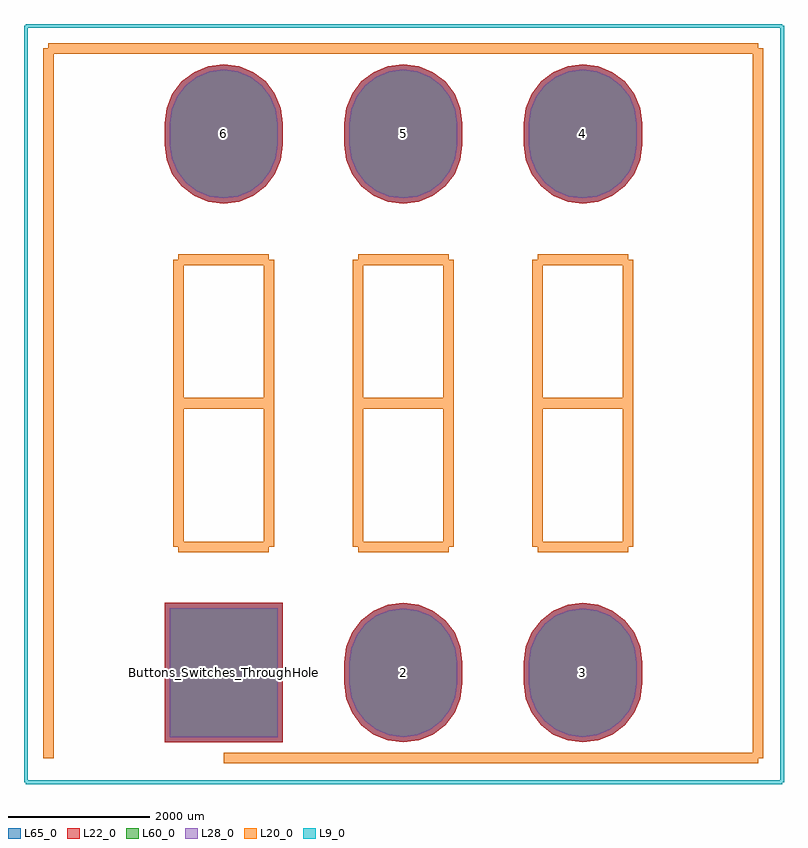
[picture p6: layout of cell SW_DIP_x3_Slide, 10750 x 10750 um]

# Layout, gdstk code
import gdstk
lib = gdstk.Library(unit=1e-6, precision=1e-09)
def R(c, l, rs):  # rectangles x0, y0, x1, y1
    for r in rs: c.add(gdstk.rectangle(r[:2], r[2:], *l))
def P(c, l, *ps):  # polygons
    for p in ps: c.add(gdstk.Polygon(p, *l))
L9_0 = (9, 0)
L20_0 = (20, 0)
L22_0 = (22, 0)
L28_0 = (28, 0)
L60_0 = (60, 0)
L65_0 = (65, 0)

sw_dip_x3_slide = lib.new_cell('SW_DIP_x3_Slide')
R(sw_dip_x3_slide, L22_0, [(-837,-987,837,987)])
P(sw_dip_x3_slide, L22_0, [(5080,6633),(5296.632,6661.52),(5498.5,6745.137),(5671.848,6878.152),(5804.863,7051.5),(5888.48,7253.368),(5917,7470),(5917,7770),(5888.48,7986.632),(5804.863,8188.5),(5671.848,8361.848),(5498.5,8494.863),(5296.632,8578.48),(5080,8607),(4863.368,8578.48),(4661.5,8494.863),(4488.152,8361.848),(4355.137,8188.5),(4271.52,7986.632),(4243,7770),(4243,7470),(4271.52,7253.368),(4355.137,7051.5),(4488.152,6878.152),(4661.5,6745.137),(4863.368,6661.52)],
  [(5080,-987),(5296.632,-958.48),(5498.5,-874.863),(5671.848,-741.848),(5804.863,-568.5),(5888.48,-366.632),(5917,-150),(5917,150),(5888.48,366.632),(5804.863,568.5),(5671.848,741.848),(5498.5,874.863),(5296.632,958.48),(5080,987),(4863.368,958.48),(4661.5,874.863),(4488.152,741.848),(4355.137,568.5),(4271.52,366.632),(4243,150),(4243,-150),(4271.52,-366.632),(4355.137,-568.5),(4488.152,-741.848),(4661.5,-874.863),(4863.368,-958.48)],
  [(2540,6633),(2756.632,6661.52),(2958.5,6745.137),(3131.848,6878.152),(3264.863,7051.5),(3348.48,7253.368),(3377,7470),(3377,7770),(3348.48,7986.632),(3264.863,8188.5),(3131.848,8361.848),(2958.5,8494.863),(2756.632,8578.48),(2540,8607),(2323.368,8578.48),(2121.5,8494.863),(1948.152,8361.848),(1815.137,8188.5),(1731.52,7986.632),(1703,7770),(1703,7470),(1731.52,7253.368),(1815.137,7051.5),(1948.152,6878.152),(2121.5,6745.137),(2323.368,6661.52)],
  [(2540,-987),(2756.632,-958.48),(2958.5,-874.863),(3131.848,-741.848),(3264.863,-568.5),(3348.48,-366.632),(3377,-150),(3377,150),(3348.48,366.632),(3264.863,568.5),(3131.848,741.848),(2958.5,874.863),(2756.632,958.48),(2540,987),(2323.368,958.48),(2121.5,874.863),(1948.152,741.848),(1815.137,568.5),(1731.52,366.632),(1703,150),(1703,-150),(1731.52,-366.632),(1815.137,-568.5),(1948.152,-741.848),(2121.5,-874.863),(2323.368,-958.48)],
  [(0,6633),(216.632,6661.52),(418.5,6745.137),(591.848,6878.152),(724.863,7051.5),(808.48,7253.368),(837,7470),(837,7770),(808.48,7986.632),(724.863,8188.5),(591.848,8361.848),(418.5,8494.863),(216.632,8578.48),(0,8607),(-216.632,8578.48),(-418.5,8494.863),(-591.848,8361.848),(-724.863,8188.5),(-808.48,7986.632),(-837,7770),(-837,7470),(-808.48,7253.368),(-724.863,7051.5),(-591.848,6878.152),(-418.5,6745.137),(-216.632,6661.52)])
R(sw_dip_x3_slide, L28_0, [(-762,-912,762,912)])
P(sw_dip_x3_slide, L28_0, [(5080,6708),(5277.22,6733.965),(5461,6810.089),(5618.815,6931.185),(5739.911,7089),(5816.035,7272.78),(5842,7470),(5842,7770),(5816.035,7967.22),(5739.911,8151),(5618.815,8308.815),(5461,8429.911),(5277.22,8506.035),(5080,8532),(4882.78,8506.035),(4699,8429.911),(4541.185,8308.815),(4420.089,8151),(4343.965,7967.22),(4318,7770),(4318,7470),(4343.965,7272.78),(4420.089,7089),(4541.185,6931.185),(4699,6810.089),(4882.78,6733.965)],
  [(5080,-912),(5277.22,-886.035),(5461,-809.911),(5618.815,-688.815),(5739.911,-531),(5816.035,-347.22),(5842,-150),(5842,150),(5816.035,347.22),(5739.911,531),(5618.815,688.815),(5461,809.911),(5277.22,886.035),(5080,912),(4882.78,886.035),(4699,809.911),(4541.185,688.815),(4420.089,531),(4343.965,347.22),(4318,150),(4318,-150),(4343.965,-347.22),(4420.089,-531),(4541.185,-688.815),(4699,-809.911),(4882.78,-886.035)],
  [(2540,6708),(2737.22,6733.965),(2921,6810.089),(3078.815,6931.185),(3199.911,7089),(3276.035,7272.78),(3302,7470),(3302,7770),(3276.035,7967.22),(3199.911,8151),(3078.815,8308.815),(2921,8429.911),(2737.22,8506.035),(2540,8532),(2342.78,8506.035),(2159,8429.911),(2001.185,8308.815),(1880.089,8151),(1803.965,7967.22),(1778,7770),(1778,7470),(1803.965,7272.78),(1880.089,7089),(2001.185,6931.185),(2159,6810.089),(2342.78,6733.965)],
  [(2540,-912),(2737.22,-886.035),(2921,-809.911),(3078.815,-688.815),(3199.911,-531),(3276.035,-347.22),(3302,-150),(3302,150),(3276.035,347.22),(3199.911,531),(3078.815,688.815),(2921,809.911),(2737.22,886.035),(2540,912),(2342.78,886.035),(2159,809.911),(2001.185,688.815),(1880.089,531),(1803.965,347.22),(1778,150),(1778,-150),(1803.965,-347.22),(1880.089,-531),(2001.185,-688.815),(2159,-809.911),(2342.78,-886.035)],
  [(0,6708),(197.22,6733.965),(381,6810.089),(538.815,6931.185),(659.911,7089),(736.035,7272.78),(762,7470),(762,7770),(736.035,7967.22),(659.911,8151),(538.815,8308.815),(381,8429.911),(197.22,8506.035),(0,8532),(-197.22,8506.035),(-381,8429.911),(-538.815,8308.815),(-659.911,8151),(-736.035,7967.22),(-762,7770),(-762,7470),(-736.035,7272.78),(-659.911,7089),(-538.815,6931.185),(-381,6810.089),(-197.22,6733.965)])
R(sw_dip_x3_slide, L60_0, [(-762,-912,762,912)])
P(sw_dip_x3_slide, L60_0, [(5080,6708),(5277.22,6733.965),(5461,6810.089),(5618.815,6931.185),(5739.911,7089),(5816.035,7272.78),(5842,7470),(5842,7770),(5816.035,7967.22),(5739.911,8151),(5618.815,8308.815),(5461,8429.911),(5277.22,8506.035),(5080,8532),(4882.78,8506.035),(4699,8429.911),(4541.185,8308.815),(4420.089,8151),(4343.965,7967.22),(4318,7770),(4318,7470),(4343.965,7272.78),(4420.089,7089),(4541.185,6931.185),(4699,6810.089),(4882.78,6733.965)],
  [(5080,-912),(5277.22,-886.035),(5461,-809.911),(5618.815,-688.815),(5739.911,-531),(5816.035,-347.22),(5842,-150),(5842,150),(5816.035,347.22),(5739.911,531),(5618.815,688.815),(5461,809.911),(5277.22,886.035),(5080,912),(4882.78,886.035),(4699,809.911),(4541.185,688.815),(4420.089,531),(4343.965,347.22),(4318,150),(4318,-150),(4343.965,-347.22),(4420.089,-531),(4541.185,-688.815),(4699,-809.911),(4882.78,-886.035)],
  [(2540,6708),(2737.22,6733.965),(2921,6810.089),(3078.815,6931.185),(3199.911,7089),(3276.035,7272.78),(3302,7470),(3302,7770),(3276.035,7967.22),(3199.911,8151),(3078.815,8308.815),(2921,8429.911),(2737.22,8506.035),(2540,8532),(2342.78,8506.035),(2159,8429.911),(2001.185,8308.815),(1880.089,8151),(1803.965,7967.22),(1778,7770),(1778,7470),(1803.965,7272.78),(1880.089,7089),(2001.185,6931.185),(2159,6810.089),(2342.78,6733.965)],
  [(2540,-912),(2737.22,-886.035),(2921,-809.911),(3078.815,-688.815),(3199.911,-531),(3276.035,-347.22),(3302,-150),(3302,150),(3276.035,347.22),(3199.911,531),(3078.815,688.815),(2921,809.911),(2737.22,886.035),(2540,912),(2342.78,886.035),(2159,809.911),(2001.185,688.815),(1880.089,531),(1803.965,347.22),(1778,150),(1778,-150),(1803.965,-347.22),(1880.089,-531),(2001.185,-688.815),(2159,-809.911),(2342.78,-886.035)],
  [(0,6708),(197.22,6733.965),(381,6810.089),(538.815,6931.185),(659.911,7089),(736.035,7272.78),(762,7470),(762,7770),(736.035,7967.22),(659.911,8151),(538.815,8308.815),(381,8429.911),(197.22,8506.035),(0,8532),(-197.22,8506.035),(-381,8429.911),(-538.815,8308.815),(-659.911,8151),(-736.035,7967.22),(-762,7770),(-762,7470),(-736.035,7272.78),(-659.911,7089),(-538.815,6931.185),(-381,6810.089),(-197.22,6733.965)])
R(sw_dip_x3_slide, L65_0, [(-837,-987,837,987)])
P(sw_dip_x3_slide, L65_0, [(5080,6633),(5296.632,6661.52),(5498.5,6745.137),(5671.848,6878.152),(5804.863,7051.5),(5888.48,7253.368),(5917,7470),(5917,7770),(5888.48,7986.632),(5804.863,8188.5),(5671.848,8361.848),(5498.5,8494.863),(5296.632,8578.48),(5080,8607),(4863.368,8578.48),(4661.5,8494.863),(4488.152,8361.848),(4355.137,8188.5),(4271.52,7986.632),(4243,7770),(4243,7470),(4271.52,7253.368),(4355.137,7051.5),(4488.152,6878.152),(4661.5,6745.137),(4863.368,6661.52)],
  [(5080,-987),(5296.632,-958.48),(5498.5,-874.863),(5671.848,-741.848),(5804.863,-568.5),(5888.48,-366.632),(5917,-150),(5917,150),(5888.48,366.632),(5804.863,568.5),(5671.848,741.848),(5498.5,874.863),(5296.632,958.48),(5080,987),(4863.368,958.48),(4661.5,874.863),(4488.152,741.848),(4355.137,568.5),(4271.52,366.632),(4243,150),(4243,-150),(4271.52,-366.632),(4355.137,-568.5),(4488.152,-741.848),(4661.5,-874.863),(4863.368,-958.48)],
  [(2540,6633),(2756.632,6661.52),(2958.5,6745.137),(3131.848,6878.152),(3264.863,7051.5),(3348.48,7253.368),(3377,7470),(3377,7770),(3348.48,7986.632),(3264.863,8188.5),(3131.848,8361.848),(2958.5,8494.863),(2756.632,8578.48),(2540,8607),(2323.368,8578.48),(2121.5,8494.863),(1948.152,8361.848),(1815.137,8188.5),(1731.52,7986.632),(1703,7770),(1703,7470),(1731.52,7253.368),(1815.137,7051.5),(1948.152,6878.152),(2121.5,6745.137),(2323.368,6661.52)],
  [(2540,-987),(2756.632,-958.48),(2958.5,-874.863),(3131.848,-741.848),(3264.863,-568.5),(3348.48,-366.632),(3377,-150),(3377,150),(3348.48,366.632),(3264.863,568.5),(3131.848,741.848),(2958.5,874.863),(2756.632,958.48),(2540,987),(2323.368,958.48),(2121.5,874.863),(1948.152,741.848),(1815.137,568.5),(1731.52,366.632),(1703,150),(1703,-150),(1731.52,-366.632),(1815.137,-568.5),(1948.152,-741.848),(2121.5,-874.863),(2323.368,-958.48)],
  [(0,6633),(216.632,6661.52),(418.5,6745.137),(591.848,6878.152),(724.863,7051.5),(808.48,7253.368),(837,7470),(837,7770),(808.48,7986.632),(724.863,8188.5),(591.848,8361.848),(418.5,8494.863),(216.632,8578.48),(0,8607),(-216.632,8578.48),(-418.5,8494.863),(-591.848,8361.848),(-724.863,8188.5),(-808.48,7986.632),(-837,7770),(-837,7470),(-808.48,7253.368),(-724.863,7051.5),(-591.848,6878.152),(-418.5,6745.137),(-216.632,6661.52)])
sw_dip_x3_slide.add(gdstk.FlexPath([(7560,-1210),(0,-1210)], 149.998, ends="flush", simple_path=True, layer=20, datatype=0))  # L20_0
sw_dip_x3_slide.add(gdstk.FlexPath([(7560,8830),(7560,-1210)], 149.998, ends="flush", simple_path=True, layer=20, datatype=0))  # L20_0
sw_dip_x3_slide.add(gdstk.FlexPath([(-2480,8830),(7560,8830)], 149.998, ends="flush", simple_path=True, layer=20, datatype=0))  # L20_0
sw_dip_x3_slide.add(gdstk.FlexPath([(-2480,-1210),(-2480,8830)], 149.998, ends="flush", simple_path=True, layer=20, datatype=0))  # L20_0
sw_dip_x3_slide.add(gdstk.FlexPath([(7900,9150),(-2800,9150)], 50, ends="flush", simple_path=True, layer=9, datatype=0))  # L9_0
sw_dip_x3_slide.add(gdstk.FlexPath([(7900,-1550),(7900,9150)], 50, ends="flush", simple_path=True, layer=9, datatype=0))  # L9_0
sw_dip_x3_slide.add(gdstk.FlexPath([(-2800,-1550),(7900,-1550)], 50, ends="flush", simple_path=True, layer=9, datatype=0))  # L9_0
sw_dip_x3_slide.add(gdstk.FlexPath([(-2800,9150),(-2800,-1550)], 50, ends="flush", simple_path=True, layer=9, datatype=0))  # L9_0
sw_dip_x3_slide.add(gdstk.FlexPath([(5720,5840),(4440,5840)], 149.998, ends="flush", simple_path=True, layer=20, datatype=0))  # L20_0
sw_dip_x3_slide.add(gdstk.FlexPath([(5720,1780),(5720,5840)], 149.998, ends="flush", simple_path=True, layer=20, datatype=0))  # L20_0
sw_dip_x3_slide.add(gdstk.FlexPath([(4440,1780),(5720,1780)], 149.998, ends="flush", simple_path=True, layer=20, datatype=0))  # L20_0
sw_dip_x3_slide.add(gdstk.FlexPath([(4440,3810),(5720,3810)], 149.998, ends="flush", simple_path=True, layer=20, datatype=0))  # L20_0
sw_dip_x3_slide.add(gdstk.FlexPath([(4440,5840),(4440,1780)], 149.998, ends="flush", simple_path=True, layer=20, datatype=0))  # L20_0
sw_dip_x3_slide.add(gdstk.FlexPath([(3180,5840),(1900,5840)], 149.998, ends="flush", simple_path=True, layer=20, datatype=0))  # L20_0
sw_dip_x3_slide.add(gdstk.FlexPath([(3180,1780),(3180,5840)], 149.998, ends="flush", simple_path=True, layer=20, datatype=0))  # L20_0
sw_dip_x3_slide.add(gdstk.FlexPath([(1900,1780),(3180,1780)], 149.998, ends="flush", simple_path=True, layer=20, datatype=0))  # L20_0
sw_dip_x3_slide.add(gdstk.FlexPath([(1900,3810),(3180,3810)], 149.998, ends="flush", simple_path=True, layer=20, datatype=0))  # L20_0
sw_dip_x3_slide.add(gdstk.FlexPath([(1900,5840),(1900,1780)], 149.998, ends="flush", simple_path=True, layer=20, datatype=0))  # L20_0
sw_dip_x3_slide.add(gdstk.FlexPath([(640,5840),(-640,5840)], 149.998, ends="flush", simple_path=True, layer=20, datatype=0))  # L20_0
sw_dip_x3_slide.add(gdstk.FlexPath([(640,1780),(640,5840)], 149.998, ends="flush", simple_path=True, layer=20, datatype=0))  # L20_0
sw_dip_x3_slide.add(gdstk.FlexPath([(-640,1780),(640,1780)], 149.998, ends="flush", simple_path=True, layer=20, datatype=0))  # L20_0
sw_dip_x3_slide.add(gdstk.FlexPath([(-640,3810),(640,3810)], 149.998, ends="flush", simple_path=True, layer=20, datatype=0))  # L20_0
sw_dip_x3_slide.add(gdstk.FlexPath([(-640,5840),(-640,1780)], 149.998, ends="flush", simple_path=True, layer=20, datatype=0))  # L20_0
sw_dip_x3_slide.add(gdstk.Label('Buttons_Switches_ThroughHole.3dshapes/SW_DIP_x3_Slide.wrl', (0,0), layer=12, texttype=0))
sw_dip_x3_slide.add(gdstk.Label('4', (5080,7620), layer=28, texttype=0))
sw_dip_x3_slide.add(gdstk.Label('3', (5080,0), layer=28, texttype=0))
sw_dip_x3_slide.add(gdstk.Label('5', (2540,7620), layer=28, texttype=0))
sw_dip_x3_slide.add(gdstk.Label('2', (2540,0), layer=28, texttype=0))
sw_dip_x3_slide.add(gdstk.Label('6', (0,7620), layer=28, texttype=0))
sw_dip_x3_slide.add(gdstk.Label('1', (0,0), layer=28, texttype=0))
sw_dip_x3_slide.add(gdstk.Label('type', (2000,-2400), layer=9, texttype=0))
sw_dip_x3_slide.add(gdstk.Label('devicename', (2520,10000), layer=9, texttype=0))

lib.write_gds('SW_DIP_x3_Slide.gds')
